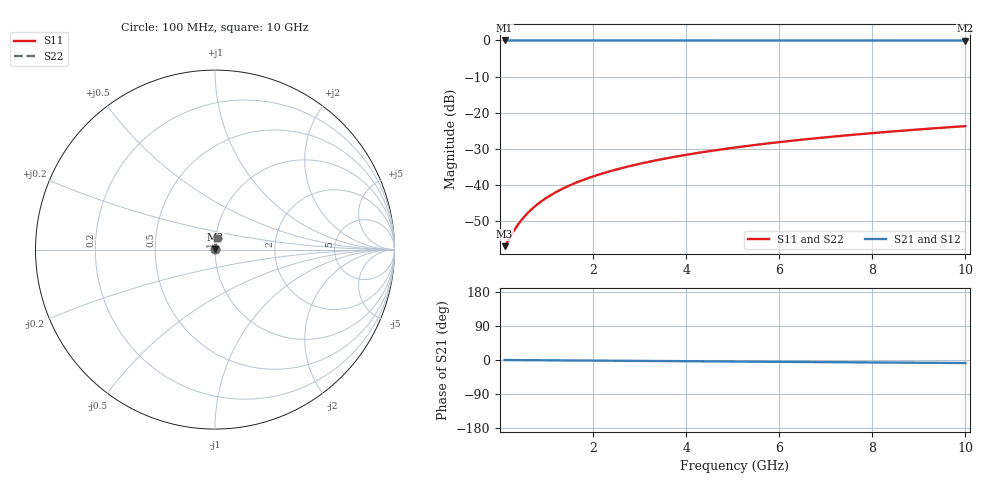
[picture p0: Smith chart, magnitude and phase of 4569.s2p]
# Hz S RI R 50.00
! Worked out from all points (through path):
!   100 points, 100 MHz to 10 GHz, reference 50 ohm
!   highest |S21| = -0.01 dB at 100 MHz (marker M1); lowest = 0.0 dB at 10 GHz (marker M2)
!   group delay of S21, straight-line fit = 2.23 ps
!   lowest |S11| = -56.9 dB at 100 MHz (marker M3), VSWR 1.00, Z = 50.1 + j0.0653 ohm
!   |S11| at or under -10 dB: start of sweep to end of sweep
!   |S22| runs from -56.9 to -23.7 dB; largest |S21 - S12| = 0
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1e8  0.00127 0.000651  0.9987 -0.00139  0.9987 -0.00139  0.00127 0.000651
3e8  0.00129 0.00195  0.9987 -0.00418  0.9987 -0.00418  0.00129 0.00195
4e8  0.0013 0.0026  0.9987 -0.00558  0.9987 -0.00558  0.0013 0.0026
5e8  0.00131 0.00326  0.9987 -0.00697  0.9987 -0.00697  0.00131 0.00326
6e8  0.00133 0.00391  0.9987 -0.00836  0.9987 -0.00836  0.00133 0.00391
7e8  0.00134 0.00456  0.9986 -0.00976  0.9986 -0.00976  0.00134 0.00456
8e8  0.00136 0.00521  0.9986 -0.0112  0.9986 -0.0112  0.00136 0.00521
1e9  0.0014 0.00651  0.9986 -0.0139  0.9986 -0.0139  0.0014 0.00651
1.2e9  0.00144 0.00781  0.9985 -0.0167  0.9985 -0.0167  0.00144 0.00781
1.5e9  0.00152 0.00976  0.9984 -0.0209  0.9984 -0.0209  0.00152 0.00976
1.8e9  0.00162 0.0117  0.9983 -0.0251  0.9983 -0.0251  0.00162 0.0117
2.1e9  0.00173 0.0137  0.9981 -0.0293  0.9981 -0.0293  0.00173 0.0137
2.5e9  0.0019 0.0163  0.9979 -0.0348  0.9979 -0.0348  0.0019 0.0163
2.9e9  0.0021 0.0189  0.9976 -0.0404  0.9976 -0.0404  0.0021 0.0189
3.4e9  0.00239 0.0221  0.9973 -0.0474  0.9973 -0.0474  0.00239 0.0221
4.2e9  0.00295 0.0273  0.9965 -0.0585  0.9965 -0.0585  0.00295 0.0273
5.1e9  0.00372 0.0331  0.9955 -0.0711  0.9955 -0.0711  0.00372 0.0331
5.9e9  0.00453 0.0383  0.9945 -0.0822  0.9945 -0.0822  0.00453 0.0383
6.7e9  0.00546 0.0434  0.9933 -0.0933  0.9933 -0.0933  0.00546 0.0434
7.5e9  0.00649 0.0485  0.9919 -0.1044  0.9919 -0.1044  0.00649 0.0485
8.4e9  0.0078 0.0543  0.9902 -0.1169  0.9902 -0.1169  0.0078 0.0543
1e10  0.0105 0.0644  0.9867 -0.139  0.9867 -0.139  0.0105 0.0644
